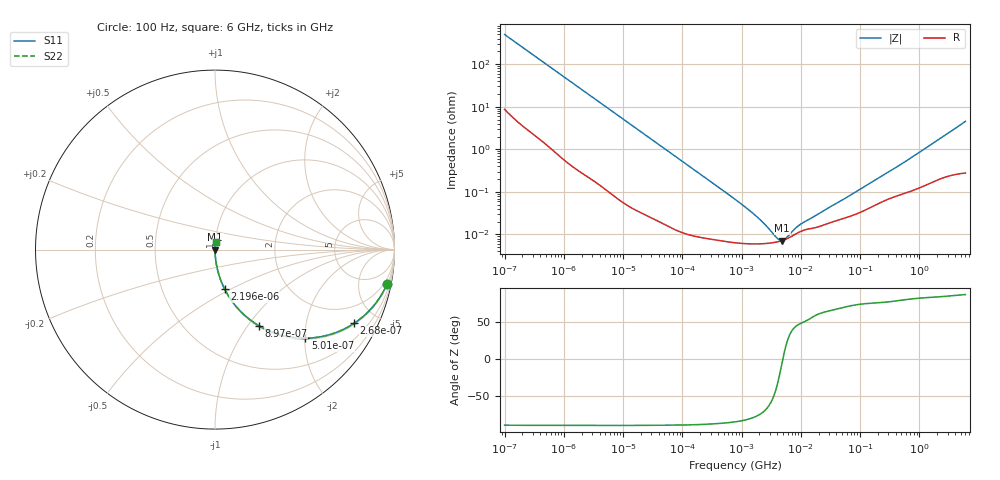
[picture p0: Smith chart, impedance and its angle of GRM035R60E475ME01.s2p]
!Murata Part Number: GRM035R60E475ME01
!These Parameters are Measured in Series Mode Connection
!Data Generated on Mar 30, 2021
!  o--ll--o
!Port1  Port2
!  o------o
!Operation Temp=25[degC], DC Bias Voltage=0[V]
!Freq. Start=100[Hz] Stop=6[GHz] 401[Steps]
# Hz S RI R 50
!Freq.(Hz) S11(Real) S11(Imag) S21(Real) S21(Imag) S12(Real) S12(Imag) S22(Real) S22(Imag)
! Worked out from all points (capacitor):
!   401 points, 100 Hz to 6 GHz, reference 50 ohm
!   read as one part in series: C = 3.19 uF near 109 Hz
!   lowest |Z| = 7.22 mohm at 4.857 MHz (marker M1)
!   series resonance near 4.979 MHz, so ESL is about 320 pH
!   S11 on the Smith chart (normalised r, x): 100 Hz: 1, -10; 268 Hz: 1.05, -3.75; 501 Hz: 1.03, -2.01; 897 Hz: 1.01, -1.13; 2.196 kHz: 1.01, -0.46; 6 GHz: 1.01, +0.09
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100  0.9582 -0.1916  0.0418 0.1916  0.0418 0.1916  0.9582 -0.1916
164  0.8997 -0.2931  0.1003 0.2931  0.1003 0.2931  0.8997 -0.2931
268  0.775 -0.4107  0.225 0.4107  0.225 0.4107  0.775 -0.4107
366  0.6513 -0.4699  0.3487 0.4699  0.3487 0.4699  0.6513 -0.4699
501  0.503 -0.4936  0.497 0.4936  0.497 0.4936  0.503 -0.4936
897  0.2442 -0.4239  0.7558 0.4239  0.7558 0.4239  0.2442 -0.4239
1283  0.1379 -0.3394  0.8621 0.3394  0.8621 0.3394  0.1379 -0.3394
2008  0.0626 -0.2368  0.9374 0.2368  0.9374 0.2368  0.0626 -0.2368
2196  0.0531 -0.2189  0.9469 0.2189  0.9469 0.2189  0.0531 -0.2189
3759  0.0196 -0.1331  0.9804 0.1331  0.9804 0.1331  0.0196 -0.1331
7036  0.00608 -0.0725  0.9939 0.0725  0.9939 0.0725  0.00608 -0.0725
40335  0.000366 -0.0129  0.9996 0.0129  0.9996 0.0129  0.000366 -0.0129
774597  6.43e-05 -0.000669  0.9999 0.000669  0.9999 0.000669  6.43e-05 -0.000669
1813585  6.01e-05 -0.000254  0.9999 0.000254  0.9999 0.000254  6.01e-05 -0.000254
3394479  6.42e-05 -8.33e-05  0.9999 8.33e-05  0.9999 8.33e-05  6.42e-05 -8.33e-05
3882480  6.64e-05 -5.31e-05  0.9999 5.31e-05  0.9999 5.31e-05  6.64e-05 -5.31e-05
4856642  7.2e-05 -5.1e-06  0.9999 5.1e-06  0.9999 5.1e-06  7.2e-05 -5.1e-06
6353432  8.41e-05 5e-05  0.9999 -5e-05  0.9999 -5e-05  8.41e-05 5e-05
9506416  0.000115 0.000122  0.9999 -0.000122  0.9999 -0.000122  0.000115 0.000122
1.555665e7  0.000139 0.000206  0.9999 -0.000206  0.9999 -0.000206  0.000139 0.000206
3.124326e8  0.0007 0.00294  0.9993 -0.00294  0.9993 -0.00294  0.0007 0.00294
6e9  0.00479 0.0449  0.9952 -0.0449  0.9952 -0.0449  0.00479 0.0449
